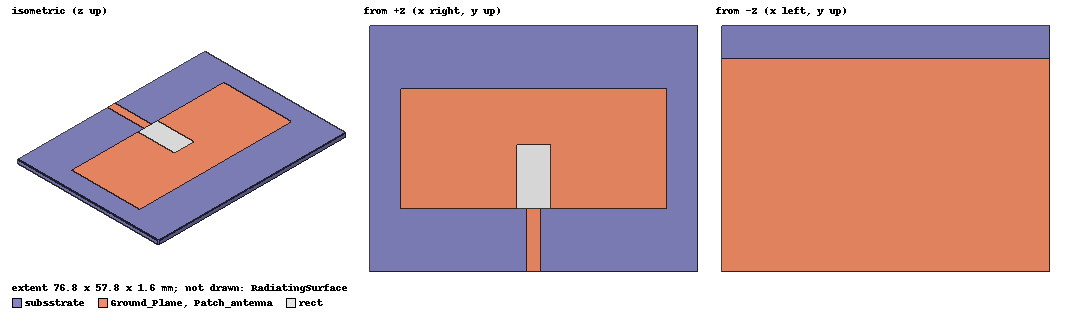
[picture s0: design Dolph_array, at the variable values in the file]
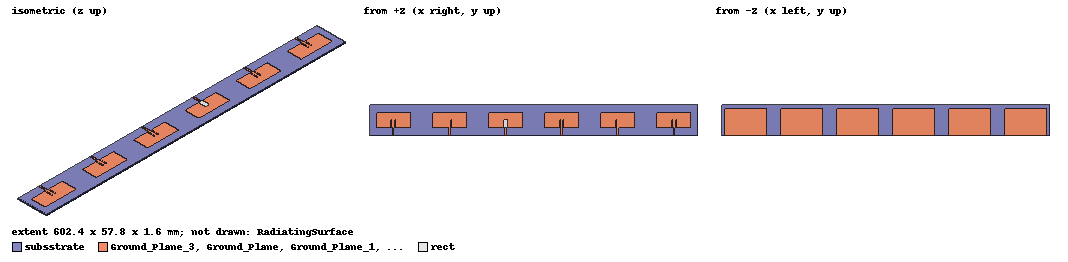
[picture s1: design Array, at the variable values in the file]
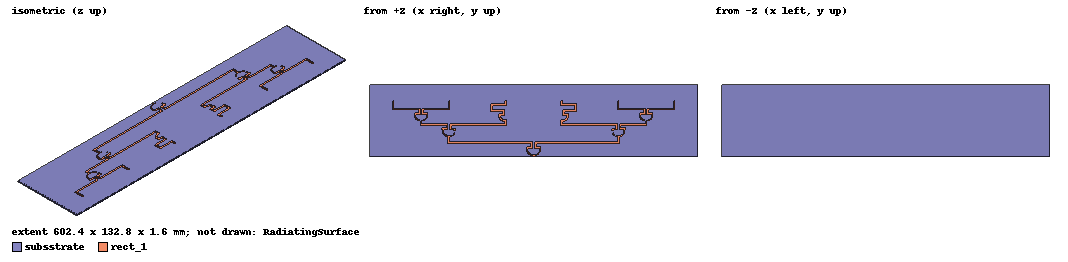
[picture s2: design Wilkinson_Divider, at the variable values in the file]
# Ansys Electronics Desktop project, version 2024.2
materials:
  vacuum: permittivity=1
  Rogers RT/duroid 5880 (tm): permittivity=2.2 dielectric_loss_tangent=0.0009
  copper: permeability=0.999991 conductivity=58000000
  FR4_epoxy: permittivity=4.4 dielectric_loss_tangent=0.02
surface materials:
  Steel-oxidised-surface

design Dolph_array (HFSS, HFSS Modal Network, model units mm)
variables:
  Inset_depth = 14.9917mm  # optimise 1mm..19mm
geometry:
  point Point1 = (2mm, -19.5mm, 0mm)
  subsstrate [FR4_epoxy] = box(corner=(-38.4mm, -28.9mm, 0mm), size=(76.8mm, 57.8mm, 1.6mm))
  Ground_Plane [copper] = rectangle(corner=(-38.4mm, -28.9mm, 0mm), x_size=76.8mm, y_size=50mm)
  Patch_antenna [copper] = rectangle(corner=(-31.2mm, -13.95mm, 1.6mm), x_size=62.4mm, y_size=27.9mm)
  Feed = rectangle(corner=(-1.55mm, -28.9mm, 1.6mm), x_size=3.1mm, y_size=29.9mm)
  Lumped_port = rectangle(corner=(-1.55mm, -28.9mm, 0mm), z_size=1.6mm, x_size=3.1mm)
  rect = rectangle(corner=(-4mm, -13.95mm, 1.6mm), x_size=8mm, y_size=Inset_depth)
  rect_1 = rect.copy()
  Patch_antenna.subtract(rect_1)
  feed_2 = rectangle(corner=(-2.55mm, -13.95mm, 1.6mm), x_size=5.1mm, y_size=Inset_depth)
  Feed.unite(feed_2)
  Patch_antenna.unite(Feed)
  RadiatingSurface [vacuum] = region(absolute_offset=41.666667mm on all sides)
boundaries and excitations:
  Patch_antenna: Finite Conductivity Objects=Patch_antenna UseMaterial Material=copper IsInternal
  Ground: Finite Conductivity Objects=Ground_Plane UseMaterial Material=copper IsInternal
  Open1: Radiation Objects=RadiatingSurface
  Lumped_port: Lumped Port Objects=Lumped_port LumpedPortType=Modal Modes{Mode1{IntLine{(0, -28.9, 0) -> (0, -28.9, 1.6)} CharImp=Zpi RenormImp=50ohm}} Impedance=50ohm
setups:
  Setup_1: HfssDriven Frequency=5GHz MaxDeltaS=0.02 MaximumPasses=6 MinimumPasses=1 MinimumConvergedPasses=1 PercentRefinement=30 BasisOrder=1 PortAccuracy=2 DrivenSolverType="Direct Solver"
    sweep Sweep_BW6KY7: 1GHz to 10GHz, 300 points; Type=Discrete SaveFields
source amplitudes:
  Lumped_port:1: 1W 0deg
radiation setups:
  3D: Infinite Sphere Theta=0deg..180deg step 2deg Phi=-180deg..180deg step 2deg
  Elevation: Infinite Sphere Theta=-180deg..180deg step 1deg Phi=0deg..90deg step 90deg
  Azimuth: Infinite Sphere Theta=90deg..90deg step 0deg Phi=-180deg..180deg step 1deg
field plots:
  Mag_Jsurf1: Jsurf over Patch_antenna.face(at (0, -7.475, 1.6)) on Setup_1 : Sweep_BW6KY7 at Freq=2.44482GHz Phase=0deg
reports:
  S Parameter Plot 1: dB(S(Lumped_port,Lumped_port)) vs Freq on Setup_1 : Sweep_BW6KY7; markers m1 at 2.4147157GHz, m2 at 2.4825GHz, m3 at 2.4749164GHz
  Z Parameter Plot 1: re(Z(Lumped_port,Lumped_port)), im(Z(Lumped_port,Lumped_port)) vs Freq on Setup_1 : Sweep_BW6KY7; markers m1 at 2.4749GHz, m2 at 2.4749GHz
  Gain Plot 1: dB(GainTotal) vs Phi, Theta on Setup_1 : Sweep_BW6KY7, 3D [Freq=2.44482GHz]
  Gain Plot 3: GainTotal vs Theta on Setup_1 : Sweep_BW6KY7, 3D [Phi=0deg Freq=2.44482GHz]
  Directivity Plot 1: dB(DirTotal) vs Theta on Setup_1 : Sweep_BW6KY7, 3D [Phi=0deg Freq=2.44482GHz]
  Gain Plot 4: dB(GainTotal) vs Theta on Setup_1 : Sweep_BW6KY7, 3D [Phi=all Freq=2.44482GHz]
  Gain Plot 5: dB(GainTotal) vs Theta on Setup_1 : Sweep_BW6KY7, 3D [Phi=0deg Freq=2.44482GHz]
  Directivity Plot 2: dB(DirTotal) vs Theta on Setup_1 : Sweep_BW6KY7, 3D [Phi=0deg Freq=2.44482GHz]

design Array (HFSS, HFSS Modal Network, model units mm)
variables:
  Inset_depth = 14.9917mm  # optimise 1mm..19mm
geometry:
  point Point1 = (2mm, -19.5mm, 0mm)
  subsstrate [FR4_epoxy] = box(corner=(-249.62mm, -28.9mm, 0mm), size=(602.35mm, 57.8mm, 1.6mm))
  Ground_Plane [copper] = rectangle(corner=(-38.4mm, -28.9mm, 0mm), x_size=76.8mm, y_size=50mm)
  Patch_antenna [copper] = rectangle(corner=(-31.2mm, -13.95mm, 1.6mm), x_size=62.4mm, y_size=27.9mm)
  Feed = rectangle(corner=(-1.55mm, -28.9mm, 1.6mm), x_size=3.1mm, y_size=29.9mm)
  rect = rectangle(corner=(-4mm, -13.95mm, 1.6mm), x_size=8mm, y_size=Inset_depth)
  rect_1 = rect.copy()
  Patch_antenna.subtract(rect_1)
  feed_2 = rectangle(corner=(-2.55mm, -13.95mm, 1.6mm), x_size=5.1mm, y_size=Inset_depth)
  Feed.unite(feed_2)
  Patch_antenna.unite(Feed)
  Patch_antenna_1, Patch_antenna_2 [copper] = Patch_antenna.duplicate_along_line(step=(-103.11mm, 0mm, 0mm), total=3)
  Ground_Plane_1, Ground_Plane_2 [copper] = Ground_Plane.duplicate_along_line(step=(-103.11mm, 0mm, 0mm), total=3)
  Patch_antenna_3, Patch_antenna_4, Patch_antenna_5 [copper] = Patch_antenna.duplicate_along_line(step=(103.11mm, 0mm, 0mm), total=4)
  Ground_Plane_3, Ground_Plane_4, Ground_Plane_5 [copper] = Ground_Plane.duplicate_along_line(step=(103.11mm, 0mm, 0mm), total=4)
  LP_rect_1 = rectangle(corner=(-207.77mm, -28.9mm, 0mm), z_size=1.6mm, x_size=3.1mm)
  LP_rect_2 = rectangle(corner=(-104.66mm, -28.9mm, 0mm), z_size=1.6mm, x_size=3.1mm)
  LP_rect_3 = rectangle(corner=(-1.55mm, -28.9mm, 0mm), z_size=1.6mm, x_size=3.1mm)
  LP_rect_4 = rectangle(corner=(101.56mm, -28.9mm, 0mm), z_size=1.6mm, x_size=3.1mm)
  LP_rect_5 = rectangle(corner=(204.67mm, -28.9mm, 0mm), z_size=1.6mm, x_size=3.1mm)
  LP_rect_6 = rectangle(corner=(307.78mm, -28.9mm, 0mm), z_size=1.6mm, x_size=3.1mm)
  RadiatingSurface [vacuum] = region(absolute_offset=41.666667mm on all sides)
  point Point2 = (0mm, 0mm, 0mm)
  point Point3 = (0mm, -28.9mm, 1.6mm)
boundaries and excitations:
  Patch_antenna: Finite Conductivity Objects=Patch_antenna UseMaterial Material=copper IsInternal
  Ground: Finite Conductivity Objects=Ground_Plane UseMaterial Material=copper IsInternal
  Patch_antenna1: Finite Conductivity Objects=Patch_antenna_1 UseMaterial Material=copper IsInternal
  Ground1: Finite Conductivity Objects=Ground_Plane_1 UseMaterial Material=copper IsInternal
  Patch_antenna2: Finite Conductivity Objects=Patch_antenna_2 UseMaterial Material=copper IsInternal
  Ground2: Finite Conductivity Objects=Ground_Plane_2 UseMaterial Material=copper IsInternal
  Patch_antenna3: Finite Conductivity Objects=Patch_antenna_3 UseMaterial Material=copper IsInternal
  Ground3: Finite Conductivity Objects=Ground_Plane_3 UseMaterial Material=copper IsInternal
  Patch_antenna4: Finite Conductivity Objects=Patch_antenna_4 UseMaterial Material=copper IsInternal
  Ground4: Finite Conductivity Objects=Ground_Plane_4 UseMaterial Material=copper IsInternal
  Patch_antenna5: Finite Conductivity Objects=Patch_antenna_5 UseMaterial Material=copper IsInternal
  Ground5: Finite Conductivity Objects=Ground_Plane_5 UseMaterial Material=copper IsInternal
  Open1: Radiation Objects=RadiatingSurface
  Lumped_port_1: Lumped Port Objects=LP_rect_1 LumpedPortType=Modal Modes{Mode1{IntLine{(-206.22, -28.9, 0) -> (-206.22, -28.9, 1.6)} CharImp=Zpi RenormImp=50ohm}} Impedance=50ohm
  Lumped_port_2: Lumped Port Objects=LP_rect_2 LumpedPortType=Modal Modes{Mode1{IntLine{(-103.11, -28.9, 0) -> (-103.11, -28.9, 1.6)} CharImp=Zpi RenormImp=50ohm}} Impedance=50ohm
  Lumped_port_3: Lumped Port Objects=LP_rect_3 LumpedPortType=Modal Modes{Mode1{IntLine{(0, -28.9, 0) -> (0, -28.9, 1.6)} CharImp=Zpi RenormImp=50ohm}} Impedance=50ohm
  Lumped_port_4: Lumped Port Objects=LP_rect_4 LumpedPortType=Modal Modes{Mode1{IntLine{(103.11, -28.9, 0) -> (103.11, -28.9, 1.6)} CharImp=Zpi RenormImp=50ohm}} Impedance=50ohm
  Lumped_port_5: Lumped Port Objects=LP_rect_5 LumpedPortType=Modal Modes{Mode1{IntLine{(206.22, -28.9, 0) -> (206.22, -28.9, 1.6)} CharImp=Zpi RenormImp=50ohm}} Impedance=50ohm
  Lumped_port_6: Lumped Port Objects=LP_rect_6 LumpedPortType=Modal Modes{Mode1{IntLine{(309.33, -28.9, 0) -> (309.33, -28.9, 1.6)} CharImp=Zpi RenormImp=50ohm}} Impedance=50ohm
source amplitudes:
  Lumped_port_1:1: 1W 0deg
  Lumped_port_2:1, Lumped_port_3:1, Lumped_port_4:1, Lumped_port_5:1, Lumped_port_6:1: 0W 0deg
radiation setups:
  3D: Infinite Sphere Theta=0deg..180deg step 2deg Phi=-180deg..180deg step 2deg
  Elevation: Infinite Sphere Theta=-180deg..180deg step 1deg Phi=0deg..90deg step 90deg
  Azimuth: Infinite Sphere Theta=90deg..90deg step 0deg Phi=-180deg..180deg step 1deg

design Wilkinson_Divider (HFSS, HFSS Modal Network, model units mm)
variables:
  pyaedt_evaluator = 90deg  # Internal_Evaluator
  Inset_depth = 14.9917mm
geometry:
  point Point1 = (30mm, -78mm, 0mm)
  point Point2 = (22mm, -92mm, 0mm)
  point Point3 = (32mm, -94mm, 0mm)
  point Point4 = (41.49196mm, -88.012mm, 1.6mm)
  point Point5 = (49.21546mm, -79.912mm, 1.6mm)
  point Point6 = (-161mm, -25mm, 0mm)
  point Point7 = (256.63104mm, -22.625095mm, 1.635mm)
  point Point8 = (53.105mm, -103.8727mm, 1.635mm)
  subsstrate [FR4_epoxy] = box(corner=(-249.62mm, 28.9mm, 0mm), size=(602.35mm, -132.7727mm, 1.6mm))
  Vin = rectangle(corner=(50.005mm, -103.8727mm, 1.6mm), x_size=3.1mm, y_size=4.09408mm)
  Curve1 = polyline(z=1.6mm, xy in mm: (50.005, -100.57504) (42.889356, -97.627644) (39.94196, -90.512), AngularArc from point 0 over 3 centre=(50.005mm, -90.512mm, 1.6mm) angle=-90deg plane=XY, section rectangle width=1.59408mm height=0mm orient=Z)
  Curve2 = polyline(z=1.6mm, xy in mm: (53.105, -100.57504) (60.220644, -97.627644) (63.16804, -90.512), AngularArc from point 0 over 3 centre=(53.105mm, -90.512mm, 1.6mm) angle=90deg plane=XY, section rectangle width=1.59408mm height=0mm orient=Z)
  Taper_1 = polyline(z=1.6mm, xy in mm: (39.14492, -90.512) (38.39196, -88.012) (41.49196, -88.012) (40.739, -90.512) (39.14492, -90.512), closed, covered)
  Taper_2 = polyline(z=1.6mm, xy in mm: (62.371, -90.512) (61.61804, -88.012) (64.71804, -88.012) (63.96508, -90.512) (62.371, -90.512), closed, covered)
  rect_1 [copper] = rectangle(corner=(38.39196mm, -88.012mm, 1.6mm), x_size=10.8235mm, y_size=3.1mm)
  rect_2 = rectangle(corner=(64.71804mm, -88.012mm, 1.6mm), x_size=-10.8235mm, y_size=3.1mm)
  rect_1_1 = rectangle(corner=(46.11546mm, -88.012mm, 1.6mm), x_size=3.1mm, y_size=8.1mm)
  rect_1_2 = rectangle(corner=(53.89454mm, -88.012mm, 1.6mm), x_size=3.1mm, y_size=8.1mm)
  rect_1_3 = rectangle(corner=(49.21546mm, -79.912mm, 1.6mm), x_size=-155.049mm, y_size=3.1mm)
  rect_1_4 = rectangle(corner=(53.89454mm, -79.912mm, 1.6mm), x_size=155.049mm, y_size=3.1mm)
  rect_1_5 = rectangle(corner=(208.94354mm, -76.812mm, 1.6mm), x_size=-3.1mm, y_size=10mm)
  rect_1_6 = rectangle(corner=(-105.83354mm, -76.812mm, 1.6mm), x_size=3.1mm, y_size=10mm)
  m_tee_1 = rectangle(corner=(-105.83354mm, -66.812mm, 1.6mm), x_size=2.1729mm, y_size=2.1729mm)
  m_tee_1_2 = rectangle(corner=(-103.66064mm, -66.812mm, 1.6mm), x_size=1.08673mm, y_size=1.08673mm)
  m_tee_1_3 = rectangle(corner=(206.77064mm, -66.812mm, 1.6mm), x_size=2.1729mm, y_size=2.1729mm)
  m_tee_1_4 = rectangle(corner=(206.77064mm, -66.812mm, 1.6mm), x_size=-1.08673mm, y_size=1.08673mm)
  Curve_1_1 = polyline(z=1.6mm, xy in mm: (-105.83354, -65.72555) (-112.38559, -63.011601) (-115.09954, -56.45955), AngularArc from point 0 over 3 centre=(-105.83354mm, -56.45955mm, 1.6mm) angle=-90deg plane=XY, section rectangle width=2.1729mm height=0mm orient=Z)
  Curve_1_2 = polyline(z=1.6mm, xy in mm: (-102.57391, -66.268635) (-96.021859, -63.554686) (-93.30791, -57.002635), AngularArc from point 0 over 3 centre=(-102.57391mm, -57.002635mm, 1.6mm) angle=90deg plane=XY, section rectangle width=1.08673mm height=0mm orient=Z)
  Curve_1_3 = polyline(z=1.6mm, xy in mm: (208.94354, -65.72555) (215.49559, -63.011601) (218.20954, -56.45955), AngularArc from point 0 over 3 centre=(208.94354mm, -56.45955mm, 1.6mm) angle=90deg plane=XY, section rectangle width=2.1729mm height=0mm orient=Z)
  Curve_1_4 = polyline(z=1.6mm, xy in mm: (205.68391, -66.268635) (199.13186, -63.554686) (196.41791, -57.002635), AngularArc from point 0 over 3 centre=(205.68391mm, -57.002635mm, 1.6mm) angle=-90deg plane=XY, section rectangle width=1.08673mm height=0mm orient=Z)
  Taper_2_1 = polyline(z=1.6mm, xy in mm: (-116.18599, -56.45955) (-116.64954, -53.95955) (-113.54954, -53.95955) (-114.01309, -56.45955) (-116.18599, -56.45955), closed, covered)
  Taper_2_2 = polyline(z=1.6mm, xy in mm: (-93.851275, -57.002635) (-94.85791, -54.502635) (-91.75791, -54.502635) (-92.764545, -57.002635) (-93.851275, -57.002635), closed, covered)
  Taper_2_3 = polyline(z=1.6mm, xy in mm: (217.12309, -56.45955) (216.65954, -53.95955) (219.75954, -53.95955) (219.29599, -56.45955) (217.12309, -56.45955), closed, covered)
  Taper_2_4 = polyline(z=1.6mm, xy in mm: (195.874545, -57.002635) (194.8679105, -54.502635) (197.96791, -54.502635) (196.961275, -57.002635) (195.874545, -57.002635), closed, covered)
  rect_2_1 = rectangle(corner=(-116.64954mm, -53.95955mm, 1.6mm), x_size=10.8235mm, y_size=3.1mm)
  rect_2_2 = rectangle(corner=(-91.75791mm, -54.502635mm, 1.6mm), x_size=-10.8235mm, y_size=3.1mm)
  rect_2_3 = rectangle(corner=(194.8679105mm, -54.502635mm, 1.6mm), x_size=10.8235mm, y_size=3.1mm)
  rect_2_4 = rectangle(corner=(219.75954mm, -53.95955mm, 1.6mm), x_size=-10.8235mm, y_size=3.1mm)
  rect_2_5 = rectangle(corner=(-105.82604mm, -50.85955mm, 1.6mm), x_size=-3.1mm, y_size=7.556915mm)
  rect_2_6 = rectangle(corner=(-102.58141mm, -51.402635mm, 1.6mm), x_size=3.1mm, y_size=8.1mm)
  rect_2_7 = rectangle(corner=(205.6914105mm, -51.402635mm, 1.6mm), x_size=-3.1mm, y_size=8.1mm)
  rect_2_8 = rectangle(corner=(208.93604mm, -50.85955mm, 1.6mm), x_size=3.1mm, y_size=7.556915mm)
  rect_2_9 = rectangle(corner=(-108.92604mm, -43.302635mm, 1.6mm), x_size=-47.6875mm, y_size=-3.1mm)
  rect_2_10 = rectangle(corner=(212.03604mm, -43.302635mm, 1.6mm), x_size=47.6875mm, y_size=-3.1mm)
  rect_2_11 = rectangle(corner=(202.5914105mm, -43.302635mm, 1.6mm), x_size=-100.7925mm, y_size=-3.1mm)
  rect_2_12 = rectangle(corner=(-99.48141mm, -43.302635mm, 1.6mm), x_size=100.7925mm, y_size=-3.1mm)
  rect_2_13 = rectangle(corner=(1.31109mm, -43.302635mm, 1.6mm), x_size=-3.1mm, y_size=7.3617mm)
  rect_2_14 = rectangle(corner=(101.7989105mm, -43.302635mm, 1.6mm), x_size=3.1mm, y_size=7.3617mm)
  rect_2_15 = rectangle(corner=(-156.61354mm, -43.302635mm, 1.6mm), x_size=3.1mm, y_size=5mm)
  rect_2_16 = rectangle(corner=(259.72354mm, -43.302635mm, 1.6mm), x_size=-3.1mm, y_size=5mm)
  Curve_2_1 = polyline(z=1.6mm, xy in mm: (-1.78891, -37.490935) (-8.3409614, -34.776986) (-11.05491, -28.224935), AngularArc from point 0 over 3 centre=(-1.78891mm, -28.224935mm, 1.6mm) angle=-90deg plane=XY, section rectangle width=3.1mm height=0mm orient=Z)
  Curve_2_2 = polyline(z=1.6mm, xy in mm: (104.8989105, -37.490935) (111.45096, -34.776986) (114.1649105, -28.224935), AngularArc from point 0 over 3 centre=(104.8989105mm, -28.224935mm, 1.6mm) angle=90deg plane=XY, section rectangle width=3.1mm height=0mm orient=Z)
  m_tee_3_1 = rectangle(corner=(-156.61354mm, -38.302635mm, 1.6mm), x_size=1.55mm, y_size=1.56522mm)
  m_tee_3_2 = rectangle(corner=(-153.51354mm, -38.302635mm, 1.6mm), x_size=-1.55mm, y_size=1.62308mm)
  m_tee_3_3 = rectangle(corner=(259.72354mm, -38.302635mm, 1.6mm), x_size=-1.55mm, y_size=1.56522mm)
  m_tee_3_4 = rectangle(corner=(256.62354mm, -38.302635mm, 1.6mm), x_size=1.55mm, y_size=1.62308mm)
  Curve_3_1 = polyline(z=1.6mm, xy in mm: (-156.61354, -37.520025) (-163.16559, -34.806076) (-165.87954, -28.254025), AngularArc from point 0 over 3 centre=(-156.61354mm, -28.254025mm, 1.6mm) angle=-90deg plane=XY, section rectangle width=1.56522mm height=0mm orient=Z)
  Curve_3_2 = polyline(z=1.6mm, xy in mm: (-153.51354, -37.491095) (-146.96149, -34.777146) (-144.24754, -28.225095), AngularArc from point 0 over 3 centre=(-153.51354mm, -28.225095mm, 1.6mm) angle=90deg plane=XY, section rectangle width=1.62308mm height=0mm orient=Z)
  Curve_3_3 = polyline(z=1.6mm, xy in mm: (256.62354, -37.491095) (250.07149, -34.777146) (247.35754, -28.225095), AngularArc from point 0 over 3 centre=(256.62354mm, -28.225095mm, 1.6mm) angle=-90deg plane=XY, section rectangle width=1.62308mm height=0mm orient=Z)
  Curve_3_4 = polyline(z=1.6mm, xy in mm: (259.72354, -37.520025) (266.27559, -34.806076) (268.98954, -28.254025), AngularArc from point 0 over 3 centre=(259.72354mm, -28.254025mm, 1.6mm) angle=90deg plane=XY, section rectangle width=1.56522mm height=0mm orient=Z)
  Taper_3_1 = polyline(z=1.6mm, xy in mm: (-166.66215, -28.254025) (-167.42954, -25.754025) (-164.32954, -25.754025) (-165.09693, -28.254025) (-166.66215, -28.254025), closed, covered)
  Taper_3_2 = polyline(z=1.6mm, xy in mm: (-145.05908, -28.225095) (-145.79754, -25.725095) (-142.69754, -25.725095) (-143.436, -28.225095) (-145.05908, -28.225095), closed, covered)
  Taper_3_3 = polyline(z=1.6mm, xy in mm: (268.20693, -28.254025) (267.43954, -25.754025) (270.53954, -25.754025) (269.77215, -28.254025) (268.20693, -28.254025), closed, covered)
  Taper_3_4 = polyline(z=1.6mm, xy in mm: (246.546, -28.225095) (245.80754, -25.725095) (248.90754, -25.725095) (248.16908, -28.225095) (246.546, -28.225095), closed, covered)
  rect_3_1 = rectangle(corner=(-167.42954mm, -25.754025mm, 1.6mm), x_size=10.8235mm, y_size=3.1mm)
  rect_3_2 = rectangle(corner=(-142.69754mm, -25.725095mm, 1.6mm), x_size=-10.8235mm, y_size=3.1mm)
  rect_3_3 = rectangle(corner=(245.80754mm, -25.725095mm, 1.6mm), x_size=10.8235mm, y_size=3.1mm)
  rect_3_4 = rectangle(corner=(270.53954mm, -25.754025mm, 1.6mm), x_size=-10.8235mm, y_size=3.1mm)
  rect_3_5 = rectangle(corner=(-156.60604mm, -22.654025mm, 1.6mm), x_size=-3.1mm, y_size=7.7235mm)
  rect_3_6 = rectangle(corner=(-153.52104mm, -22.625095mm, 1.6mm), x_size=3.1mm, y_size=7.7235mm)
  rect_3_7 = rectangle(corner=(256.63104mm, -22.625095mm, 1.6mm), x_size=-3.1mm, y_size=7.7235mm)
  rect_3_8 = rectangle(corner=(259.71604mm, -22.654025mm, 1.6mm), x_size=3.1mm, y_size=7.7235mm)
  rect_3_9 = rectangle(corner=(-12.60491mm, -28.224935mm, 1.6mm), x_size=10.8235mm, y_size=3.1mm)
  rect_3_10 = rectangle(corner=(115.7149105mm, -28.224935mm, 1.6mm), x_size=-10.8235mm, y_size=3.1mm)
  rect_3_11 = rectangle(corner=(-1.78141mm, -25.124935mm, 1.6mm), x_size=-3.1mm, y_size=7.7235mm)
  rect_3_12 = rectangle(corner=(104.8914105mm, -25.124935mm, 1.6mm), x_size=3.1mm, y_size=7.7235mm)
  rect_3_13 = rectangle(corner=(-4.88141mm, -17.401435mm, 1.6mm), x_size=-22.6814mm, y_size=-3.1mm)
  rect_3_14 = rectangle(corner=(107.9914105mm, -17.401435mm, 1.6mm), x_size=22.6814mm, y_size=-3.1mm)
  rect_3_15 = rectangle(corner=(-27.56281mm, -17.401435mm, 1.6mm), x_size=3.1mm, y_size=11.3406mm)
  rect_3_16 = rectangle(corner=(130.6728105mm, -17.401435mm, 1.6mm), x_size=-3.1mm, y_size=11.3406mm)
  rect_3_17 = rectangle(corner=(-24.46281mm, -6.060835mm, 1.6mm), x_size=25.7814mm, y_size=-3.1mm)
  rect_3_18 = rectangle(corner=(127.5728105mm, -6.060835mm, 1.6mm), x_size=-25.7814mm, y_size=-3.1mm)
  rect_3_19 = rectangle(corner=(-159.70604mm, -14.930525mm, 1.6mm), x_size=-48.4625mm, y_size=-3.1mm)
  rect_3_20 = rectangle(corner=(-150.42104mm, -14.901595mm, 1.6mm), x_size=48.4625mm, y_size=-3.1mm)
  rect_3_21 = rectangle(corner=(253.53104mm, -14.901595mm, 1.6mm), x_size=-48.4625mm, y_size=-3.1mm)
  rect_3_22 = rectangle(corner=(262.81604mm, -14.930525mm, 1.6mm), x_size=48.4625mm, y_size=-3.1mm)
  rect_3_23 = rectangle(corner=(-208.16854mm, -14.930525mm, 1.6mm), x_size=3.1mm, y_size=14.930525mm)
  rect_3_24 = rectangle(corner=(-101.95854mm, -14.901595mm, 1.6mm), x_size=-3.1mm, y_size=14.901595mm)
  rect_3_25 = rectangle(corner=(205.06854mm, -14.901595mm, 1.6mm), x_size=3.1mm, y_size=14.901595mm)
  rect_3_26 = rectangle(corner=(311.27854mm, -14.930525mm, 1.6mm), x_size=-3.1mm, y_size=14.930525mm)
  rect_3_27 = rectangle(corner=(1.31859mm, -6.060835mm, 1.6mm), x_size=-3.1mm, y_size=6.060835mm)
  rect_3_28 = rectangle(corner=(101.7914105mm, -6.060835mm, 1.6mm), x_size=3.1mm, y_size=6.060835mm)
  rect_1.unite(rect_1_1, rect_2, Taper_1, Taper_2, m_tee_1, m_tee_1_2, m_tee_1_3, m_tee_1_4, Taper_2_1..Taper_2_4, Taper_3_1..Taper_3_4, m_tee_3_1..m_tee_3_4, Vin, rect_1_2..rect_1_6, rect_2_1..rect_2_16, rect_3_1..rect_3_28, Curve1, Curve2, Curve_1_1..Curve_1_4, Curve_2_1, Curve_2_2, Curve_3_1..Curve_3_4)
  lp1 = rectangle(corner=(50.005mm, -103.8727mm, 0mm), z_size=1.6mm, x_size=3.1mm)
  lp2 = rectangle(corner=(308.17854mm, 0mm, 0mm), z_size=1.6mm, x_size=3.1mm)
  lp3 = rectangle(corner=(205.06854mm, 0mm, 0mm), z_size=1.6mm, x_size=3.1mm)
  lp4 = rectangle(corner=(104.8914105mm, 0mm, 0mm), z_size=1.6mm, x_size=3.1mm)
  lp5 = rectangle(corner=(-1.78141mm, 0mm, 0mm), z_size=1.6mm, x_size=3.1mm)
  lp6 = rectangle(corner=(-105.05854mm, 0mm, 0mm), z_size=1.6mm, x_size=3.1mm)
  lp7 = rectangle(corner=(-208.16854mm, 0mm, 0mm), z_size=1.6mm, x_size=3.1mm)
  [rect_1, subsstrate].move(0mm, -28.9mm, 0mm)
  RadiatingSurface [vacuum] = region(absolute_offset=40.741495mm on all sides)
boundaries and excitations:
  Open1: Radiation Objects=RadiatingSurface
  Lumped_1: Lumped Port Objects=lp1 LumpedPortType=Modal Modes{Mode1{IntLine{(51.555, -103.8727, 0) -> (51.555, -103.8727, 1.6)} CharImp=Zpi RenormImp=50ohm}} Impedance=50ohm
  Lumped_2: Lumped Port Objects=lp2 LumpedPortType=Modal Modes{Mode1{IntLine{(309.72854, 0, 0) -> (309.72854, 0, 1.6)} CharImp=Zpi RenormImp=50ohm}} Impedance=50ohm
  Lumped_3: Lumped Port Objects=lp3 LumpedPortType=Modal Modes{Mode1{IntLine{(206.61854, 0, 0) -> (206.61854, 0, 1.6)} CharImp=Zpi RenormImp=50ohm}} Impedance=50ohm
  Lumped_4: Lumped Port Objects=lp4 LumpedPortType=Modal Modes{Mode1{IntLine{(106.4414105, 0, 0) -> (106.4414105, 0, 1.6)} CharImp=Zpi RenormImp=50ohm}} Impedance=50ohm
  Lumped_5: Lumped Port Objects=lp5 LumpedPortType=Modal Modes{Mode1{IntLine{(-0.23141, 0, 0) -> (-0.23141, 0, 1.6)} CharImp=Zpi RenormImp=50ohm}} Impedance=50ohm
  Lumped_6: Lumped Port Objects=lp6 LumpedPortType=Modal Modes{Mode1{IntLine{(-103.50854, 0, 0) -> (-103.50854, 0, 1.6)} CharImp=Zpi RenormImp=50ohm}} Impedance=50ohm
  Lumped_7: Lumped Port Objects=lp7 LumpedPortType=Modal Modes{Mode1{IntLine{(-206.61854, 0, 0) -> (-206.61854, 0, 1.6)} CharImp=Zpi RenormImp=50ohm}} Impedance=50ohm
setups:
  Setup_1: HfssDriven Frequency=5GHz MaxDeltaS=0.02 MaximumPasses=6 MinimumPasses=1 MinimumConvergedPasses=1 PercentRefinement=30 BasisOrder=1 PortAccuracy=2 DrivenSolverType="Direct Solver"
    sweep Sweep_BUAXRB: 1GHz to 5GHz, 100 points; Type=Discrete SaveFields
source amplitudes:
  Lumped_1:1: 1W 0deg
  Lumped_2:1, Lumped_3:1, Lumped_4:1, Lumped_5:1, Lumped_6:1, Lumped_7:1: 0W 0deg
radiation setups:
  3D: Infinite Sphere Theta=0deg..180deg step 2deg Phi=-180deg..180deg step 2deg
  Elevation: Infinite Sphere Theta=-180deg..180deg step 1deg Phi=0deg..90deg step 90deg
  Azimuth: Infinite Sphere Theta=90deg..90deg step 0deg Phi=-180deg..180deg step 1deg
